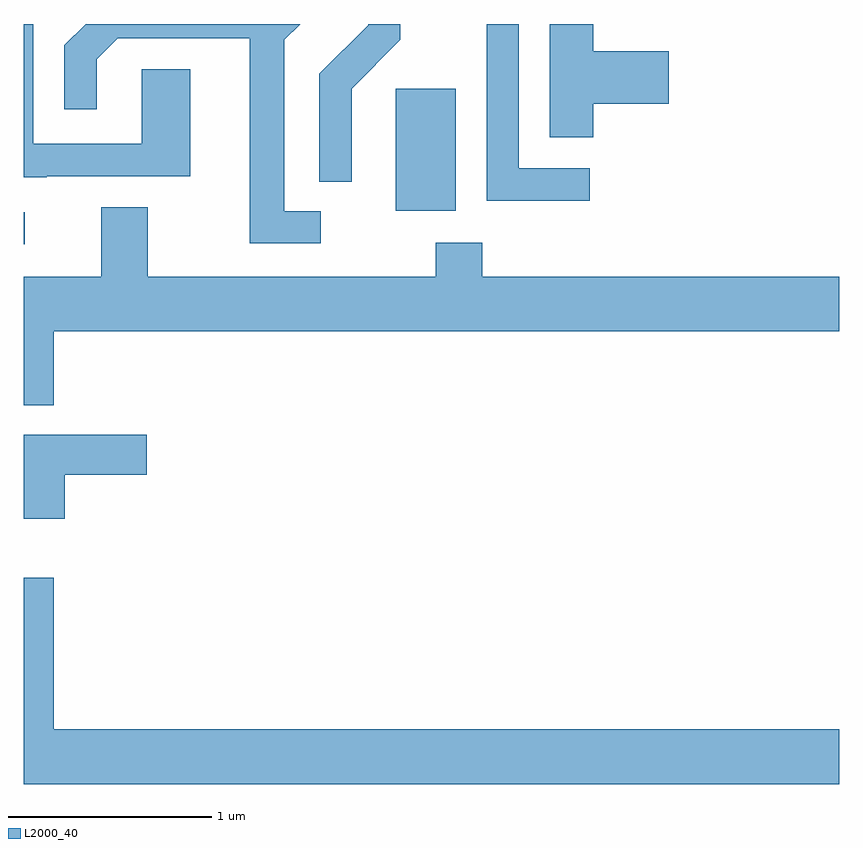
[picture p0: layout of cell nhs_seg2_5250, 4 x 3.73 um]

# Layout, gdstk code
import gdstk
lib = gdstk.Library(unit=1e-6, precision=1e-09)
def R(c, l, rs):  # rectangles x0, y0, x1, y1
    for r in rs: c.add(gdstk.rectangle(r[:2], r[2:], *l))
def P(c, l, *ps):  # polygons
    for p in ps: c.add(gdstk.Polygon(p, *l))
L2000_40 = (2000, 40)

nhs_seg2_5250 = lib.new_cell('nhs_seg2_5250')
R(nhs_seg2_5250, L2000_40, [(339.611,1068.721,339.618,1068.879), (341.436,1068.886,341.729,1069.484)])
P(nhs_seg2_5250, L2000_40, [(341.068,1068.884),(340.889,1068.884),(340.889,1069.724),(340.968,1069.802),(339.917,1069.802),(339.811,1069.697),(339.811,1069.383),(339.969,1069.383),(339.969,1069.629),(340.072,1069.731),(340.721,1069.731),(340.721,1068.726),(341.068,1068.726)],
  [(341.219,1069.484),(341.459,1069.724),(341.459,1069.802),(341.301,1069.802),(341.301,1069.797),(341.061,1069.557),(341.061,1069.028),(341.219,1069.028)],
  [(342.388,1069.094),(342.039,1069.094),(342.039,1069.802),(341.881,1069.802),(341.881,1068.936),(342.388,1068.936)],
  [(339.725,1069.056),(340.429,1069.056),(340.429,1069.579),(340.191,1069.579),(340.191,1069.214),(339.659,1069.214),(339.659,1069.802),(339.611,1069.802),(339.611,1069.051),(339.725,1069.051)],
  [(342.404,1069.411),(342.774,1069.411),(342.774,1069.669),(342.404,1069.669),(342.404,1069.802),(342.191,1069.802),(342.191,1069.246),(342.404,1069.246)],
  [(339.759,1068.296),(343.611,1068.296),(343.611,1068.564),(341.859,1068.564),(341.859,1068.729),(341.631,1068.729),(341.631,1068.564),(340.219,1068.564),(340.219,1068.904),(339.991,1068.904),(339.991,1068.564),(339.611,1068.564),(339.611,1067.933),(339.759,1067.933)],
  [(339.814,1067.591),(340.214,1067.591),(340.214,1067.789),(339.611,1067.789),(339.611,1067.376),(339.814,1067.376)],
  [(343.611,1066.344),(339.759,1066.344),(339.759,1067.088),(339.611,1067.088),(339.611,1066.076),(343.611,1066.076)])

lib.write_gds('nhs_seg2_5250.gds')
